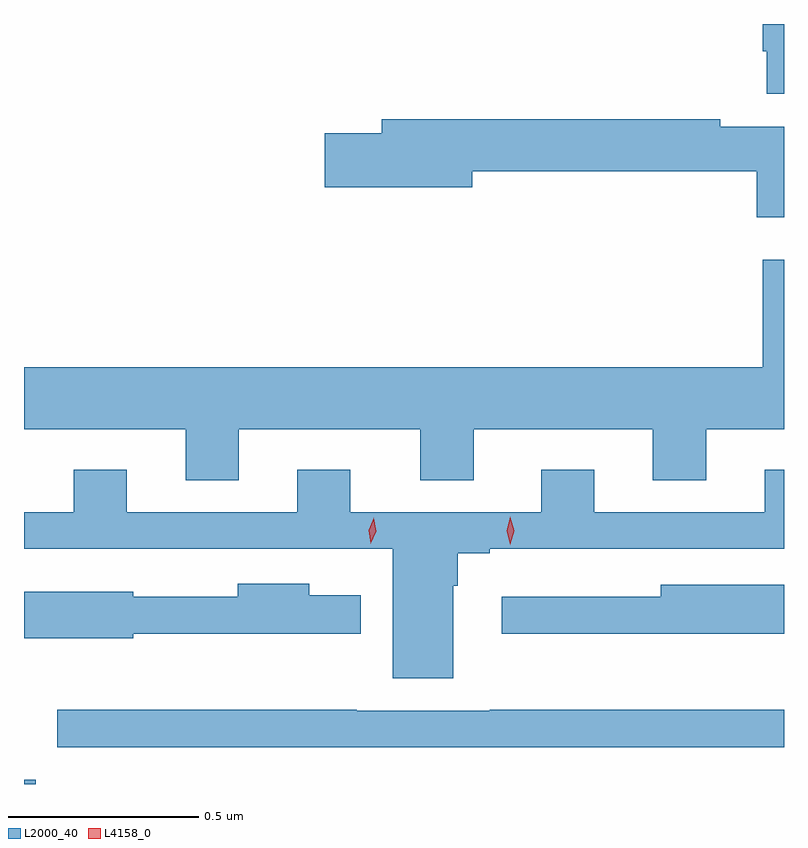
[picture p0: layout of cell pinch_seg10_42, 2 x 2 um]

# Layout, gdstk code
import gdstk
lib = gdstk.Library(unit=1e-6, precision=1e-09)
def R(c, l, rs):  # rectangles x0, y0, x1, y1
    for r in rs: c.add(gdstk.rectangle(r[:2], r[2:], *l))
def P(c, l, *ps):  # polygons
    for p in ps: c.add(gdstk.Polygon(p, *l))
L2000_40 = (2000, 40)
L4158_0 = (4158, 0)

pinch_seg10_42 = lib.new_cell('pinch_seg10_42')
R(pinch_seg10_42, L2000_40, [(897.366,1287.395,897.397,1287.406)])
P(pinch_seg10_42, L2000_40, [(899.366,1289.395),(899.31,1289.395),(899.31,1289.323),(899.32,1289.323),(899.32,1289.211),(899.366,1289.211)],
  [(899.366,1289.124),(899.198,1289.124),(899.198,1289.144),(898.307,1289.144),(898.307,1289.108),(898.158,1289.108),(898.158,1288.966),(898.546,1288.966),(898.546,1289.008),(899.294,1289.008),(899.294,1288.886),(899.366,1288.886)],
  [(897.931,1288.328),(898.409,1288.328),(898.409,1288.195),(898.549,1288.195),(898.549,1288.328),(899.021,1288.328),(899.021,1288.195),(899.161,1288.195),(899.161,1288.328),(899.366,1288.328),(899.366,1288.774),(899.31,1288.774),(899.31,1288.492),(897.366,1288.492),(897.366,1288.328),(897.791,1288.328),(897.791,1288.195),(897.931,1288.195)],
  [(898.495,1287.917),(898.508,1287.917),(898.508,1288.002),(898.591,1288.002),(898.591,1288.014),(899.366,1288.014),(899.366,1288.222),(899.315,1288.222),(899.315,1288.11),(898.867,1288.11),(898.867,1288.222),(898.727,1288.222),(898.727,1288.11),(898.225,1288.11),(898.225,1288.222),(898.085,1288.222),(898.085,1288.11),(897.637,1288.11),(897.637,1288.222),(897.497,1288.222),(897.497,1288.11),(897.366,1288.11),(897.366,1288.014),(898.337,1288.014),(898.337,1287.673),(898.495,1287.673)],
  [(897.654,1287.791),(898.252,1287.791),(898.252,1287.892),(898.117,1287.892),(898.117,1287.922),(897.929,1287.922),(897.929,1287.888),(897.654,1287.888),(897.654,1287.901),(897.366,1287.901),(897.366,1287.779),(897.654,1287.779)],
  [(899.366,1287.919),(899.042,1287.919),(899.042,1287.888),(898.623,1287.888),(898.623,1287.791),(899.366,1287.791)],
  [(899.366,1287.59),(898.591,1287.59),(898.591,1287.588),(898.241,1287.588),(898.241,1287.59),(897.453,1287.59),(897.453,1287.492),(899.366,1287.492)])
P(pinch_seg10_42, L4158_0, [(898.646,1288.025),(898.646,1288.026),(898.636,1288.061),(898.646,1288.097),(898.646,1288.098),(898.646,1288.097),(898.656,1288.061),(898.646,1288.026)],
  [(898.279,1288.027),(898.279,1288.028),(898.273,1288.063),(898.287,1288.095),(898.287,1288.096),(898.287,1288.095),(898.293,1288.06),(898.279,1288.028)])

lib.write_gds('pinch_seg10_42.gds')
